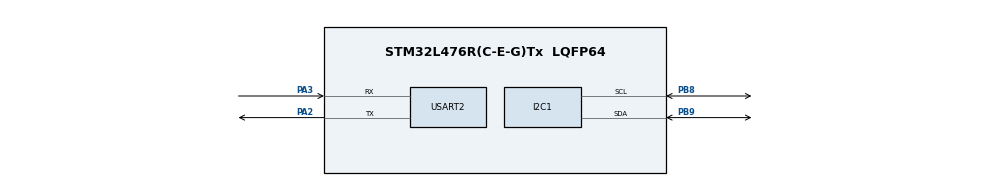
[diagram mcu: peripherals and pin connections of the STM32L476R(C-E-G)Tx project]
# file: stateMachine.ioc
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FREERTOS.Mutexes01=uartMutex,Dynamic,NULL,Available
FREERTOS.Queues01=eventQueue,16,Event_t,0,Dynamic,NULL,NULL;transmitQueue,4,Telemetry_t*,0,Dynamic,NULL,NULL
FREERTOS.Tasks01=mainTask,24,128,StartMainTask,Default,NULL,Dynamic,NULL,NULL;housekeepTask,8,128,StartHousekeepTask,Default,NULL,Dynamic,NULL,NULL;transmitTask,8,128,StartTransmitTask,Default,NULL,Dynamic,NULL,NULL;receiveTask,8,128,StartReceiveTask,Default,NULL,Dynamic,NULL,NULL;deployTask,8,128,StartDeployTask,Default,NULL,Dynamic,NULL,NULL;detumblingTask,8,128,StartDetumblingTask,Default,NULL,Dynamic,NULL,NULL;missionTask,8,128,StartMissionTask,Default,NULL,Dynamic,NULL,NULL
FREERTOS.Timers01=HkTickTimer,vHkTickCallback,osTimerPeriodic,Default,NULL,Dynamic,NULL;TcSlotTimer,vTcSlotCallback,osTimerPeriodic,Default,NULL,Dynamic,NULL;TcSlotOffsetTimer,vTcSlotOffsetCallback,osTimerOnce,Default,NULL,Dynamic,NULL
FREERTOS.configTOTAL_HEAP_SIZE=8192
FREERTOS.configUSE_NEWLIB_REENTRANT=1
I2C1.Timing=0x00100D14
Mcu.Family=STM32L4
Mcu.Name=STM32L476R(C-E-G)Tx
Mcu.Package=LQFP64
NVIC.PriorityGroup=NVIC_PRIORITYGROUP_4
NVIC.TIM6_DAC_IRQn=true\:15\:0\:false\:false\:true\:false\:false\:true\:true
NVIC.TimeBase=TIM6_DAC_IRQn
NVIC.TimeBaseIP=TIM6
PA13\ (JTMS-SWDIO).Mode=Serial_Wire
PA13\ (JTMS-SWDIO).Signal=SYS_JTMS-SWDIO
PA14\ (JTCK-SWCLK).Mode=Serial_Wire
PA14\ (JTCK-SWCLK).Signal=SYS_JTCK-SWCLK
PA2.Mode=Asynchronous
PA2.Signal=USART2_TX
PA3.Mode=Asynchronous
PA3.Signal=USART2_RX
PB8.Mode=I2C
PB8.Signal=I2C1_SCL
PB9.Mode=I2C
PB9.Signal=I2C1_SDA
ProjectManager.HeapSize=0x200
ProjectManager.StackSize=0x400
ProjectManager.TargetToolchain=STM32CubeIDE
RCC.HSE_VALUE=8000000
RCC.HSI_VALUE=16000000
RCC.LSE_VALUE=32768
RCC.MSI_VALUE=4000000
RCC.VCOOutputFreq_Value=32000000
USART2.VirtualMode-Asynchronous=VM_ASYNC
VP_FREERTOS_VS_CMSIS_V2.Mode=CMSIS_V2
VP_SYS_VS_tim6.Mode=TIM6
board=custom

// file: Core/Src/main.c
/* USER CODE BEGIN Header */
/**
  ******************************************************************************
  * @file           : main.c
  * @brief          : Main program body
  ******************************************************************************
  * @attention
  *
  * Copyright (c) 2026 STMicroelectronics.
  * All rights reserved.
  *
  * This software is licensed under terms that can be found in the LICENSE file
  * in the root directory of this software component.
  * If no LICENSE file comes with this software, it is provided AS-IS.
  *
  ******************************************************************************
  */
/* USER CODE END Header */
#include "main.h"
#include "cmsis_os.h"

/* USER CODE BEGIN Includes */
#include <stdio.h>
#include "customTypes.h"
#include "BME280.h"
#include "DS3231.h"
/* USER CODE END Includes */

I2C_HandleTypeDef hi2c1;

UART_HandleTypeDef huart2;

/* Definitions for mainTask */
osThreadId_t mainTaskHandle;
const osThreadAttr_t mainTask_attributes = {
  .name = "mainTask",
  .stack_size = 128 * 4,
  .priority = (osPriority_t) osPriorityNormal,
};
/* Definitions for housekeepTask */
osThreadId_t housekeepTaskHandle;
const osThreadAttr_t housekeepTask_attributes = {
  .name = "housekeepTask",
  .stack_size = 128 * 4,
  .priority = (osPriority_t) osPriorityLow,
};
/* Definitions for transmitTask */
osThreadId_t transmitTaskHandle;
const osThreadAttr_t transmitTask_attributes = {
  .name = "transmitTask",
  .stack_size = 128 * 4,
  .priority = (osPriority_t) osPriorityLow,
};
/* Definitions for receiveTask */
osThreadId_t receiveTaskHandle;
const osThreadAttr_t receiveTask_attributes = {
  .name = "receiveTask",
  .stack_size = 128 * 4,
  .priority = (osPriority_t) osPriorityLow,
};
/* Definitions for deployTask */
osThreadId_t deployTaskHandle;
const osThreadAttr_t deployTask_attributes = {
  .name = "deployTask",
  .stack_size = 128 * 4,
  .priority = (osPriority_t) osPriorityLow,
};
/* Definitions for detumblingTask */
osThreadId_t detumblingTaskHandle;
const osThreadAttr_t detumblingTask_attributes = {
  .name = "detumblingTask",
  .stack_size = 128 * 4,
  .priority = (osPriority_t) osPriorityLow,
};
/* Definitions for missionTask */
osThreadId_t missionTaskHandle;
const osThreadAttr_t missionTask_attributes = {
  .name = "missionTask",
  .stack_size = 128 * 4,
  .priority = (osPriority_t) osPriorityLow,
};
/* Definitions for eventQueue */
osMessageQueueId_t eventQueueHandle;
const osMessageQueueAttr_t eventQueue_attributes = {
  .name = "eventQueue"
};
/* Definitions for transmitQueue */
osMessageQueueId_t transmitQueueHandle;
const osMessageQueueAttr_t transmitQueue_attributes = {
  .name = "transmitQueue"
};
/* Definitions for HkTickTimer */
osTimerId_t HkTickTimerHandle;
const osTimerAttr_t HkTickTimer_attributes = {
  .name = "HkTickTimer"
};
/* Definitions for TcSlotTimer */
osTimerId_t TcSlotTimerHandle;
const osTimerAttr_t TcSlotTimer_attributes = {
  .name = "TcSlotTimer"
};
/* Definitions for TcSlotOffsetTimer */
osTimerId_t TcSlotOffsetTimerHandle;
const osTimerAttr_t TcSlotOffsetTimer_attributes = {
  .name = "TcSlotOffsetTimer"
};
/* Definitions for uartMutex */
osMutexId_t uartMutexHandle;
const osMutexAttr_t uartMutex_attributes = {
  .name = "uartMutex"
};

void SystemClock_Config(void);
static void MX_GPIO_Init(void);
static void MX_USART2_UART_Init(void);
static void MX_I2C1_Init(void);
void StartMainTask(void *argument);
void StartHousekeepTask(void *argument);
void StartTransmitTask(void *argument);
void StartReceiveTask(void *argument);
void StartDeployTask(void *argument);
void StartDetumblingTask(void *argument);
void StartMissionTask(void *argument);
void vHkTickCallback(void *argument);
void vTcSlotCallback(void *argument);
void vTcSlotOffsetCallback(void *argument);

/* USER CODE BEGIN 0 */
int __io_putchar(int ch) {
	HAL_UART_Transmit(&huart2, (uint8_t*) &ch, 1, 10);
	return ch;
}
/* USER CODE END 0 */

int main(void)
{

  /* MCU Configuration--------------------------------------------------------*/

  /* Reset of all peripherals, Initializes the Flash interface and the Systick. */
  HAL_Init();

  /* Configure the system clock */
  SystemClock_Config();

  /* Initialize all configured peripherals */
  MX_GPIO_Init();
  MX_USART2_UART_Init();
  MX_I2C1_Init();

  /* Init scheduler */
  osKernelInitialize();
  /* Create the mutex(es) */
  /* creation of uartMutex */
  uartMutexHandle = osMutexNew(&uartMutex_attributes);

  /* Create the timer(s) */
  /* creation of HkTickTimer */
  HkTickTimerHandle = osTimerNew(vHkTickCallback, osTimerPeriodic, NULL, &HkTickTimer_attributes);

  /* creation of TcSlotTimer */
  TcSlotTimerHandle = osTimerNew(vTcSlotCallback, osTimerPeriodic, NULL, &TcSlotTimer_attributes);

  /* creation of TcSlotOffsetTimer */
  TcSlotOffsetTimerHandle = osTimerNew(vTcSlotOffsetCallback, osTimerOnce, NULL, &TcSlotOffsetTimer_attributes);

  /* Create the queue(s) */
  /* creation of eventQueue */
  eventQueueHandle = osMessageQueueNew (16, sizeof(Event_t), &eventQueue_attributes);

  /* creation of transmitQueue */
  transmitQueueHandle = osMessageQueueNew (4, sizeof(Telemetry_t*), &transmitQueue_attributes);

  /* Create the thread(s) */
  /* creation of mainTask */
  mainTaskHandle = osThreadNew(StartMainTask, NULL, &mainTask_attributes);

  /* creation of housekeepTask */
  housekeepTaskHandle = osThreadNew(StartHousekeepTask, NULL, &housekeepTask_attributes);

  /* creation of transmitTask */
  transmitTaskHandle = osThreadNew(StartTransmitTask, NULL, &transmitTask_attributes);

  /* creation of receiveTask */
  receiveTaskHandle = osThreadNew(StartReceiveTask, NULL, &receiveTask_attributes);

  /* creation of deployTask */
  deployTaskHandle = osThreadNew(StartDeployTask, NULL, &deployTask_attributes);

  /* creation of detumblingTask */
  detumblingTaskHandle = osThreadNew(StartDetumblingTask, NULL, &detumblingTask_attributes);

  /* creation of missionTask */
  missionTaskHandle = osThreadNew(StartMissionTask, NULL, &missionTask_attributes);

  /* Start scheduler */
  osKernelStart();

  /* We should never get here as control is now taken by the scheduler */

  /* Infinite loop */
  while (1)
  {

  }
}

void SystemClock_Config(void)
{
  RCC_OscInitTypeDef RCC_OscInitStruct = {0};
  RCC_ClkInitTypeDef RCC_ClkInitStruct = {0};

  /** Configure the main internal regulator output voltage
  */
  if (HAL_PWREx_ControlVoltageScaling(PWR_REGULATOR_VOLTAGE_SCALE1) != HAL_OK)
  {
    Error_Handler();
  }

  /** Initializes the RCC Oscillators according to the specified parameters
  * in the RCC_OscInitTypeDef structure.
  */
  RCC_OscInitStruct.OscillatorType = RCC_OSCILLATORTYPE_MSI;
  RCC_OscInitStruct.MSIState = RCC_MSI_ON;
  RCC_OscInitStruct.MSICalibrationValue = 0;
  RCC_OscInitStruct.MSIClockRange = RCC_MSIRANGE_6;
  RCC_OscInitStruct.PLL.PLLState = RCC_PLL_NONE;
  if (HAL_RCC_OscConfig(&RCC_OscInitStruct) != HAL_OK)
  {
    Error_Handler();
  }

  /** Initializes the CPU, AHB and APB buses clocks
  */
  RCC_ClkInitStruct.ClockType = RCC_CLOCKTYPE_HCLK|RCC_CLOCKTYPE_SYSCLK
                              |RCC_CLOCKTYPE_PCLK1|RCC_CLOCKTYPE_PCLK2;
  RCC_ClkInitStruct.SYSCLKSource = RCC_SYSCLKSOURCE_MSI;
  RCC_ClkInitStruct.AHBCLKDivider = RCC_SYSCLK_DIV1;
  RCC_ClkInitStruct.APB1CLKDivider = RCC_HCLK_DIV1;
  RCC_ClkInitStruct.APB2CLKDivider = RCC_HCLK_DIV1;

  if (HAL_RCC_ClockConfig(&RCC_ClkInitStruct, FLASH_LATENCY_0) != HAL_OK)
  {
    Error_Handler();
  }
}

static void MX_I2C1_Init(void)
{

  hi2c1.Instance = I2C1;
  hi2c1.Init.Timing = 0x00100D14;
  hi2c1.Init.OwnAddress1 = 0;
  hi2c1.Init.AddressingMode = I2C_ADDRESSINGMODE_7BIT;
  hi2c1.Init.DualAddressMode = I2C_DUALADDRESS_DISABLE;
  hi2c1.Init.OwnAddress2 = 0;
  hi2c1.Init.OwnAddress2Masks = I2C_OA2_NOMASK;
  hi2c1.Init.GeneralCallMode = I2C_GENERALCALL_DISABLE;
  hi2c1.Init.NoStretchMode = I2C_NOSTRETCH_DISABLE;
  if (HAL_I2C_Init(&hi2c1) != HAL_OK)
  {
    Error_Handler();
  }

  /** Configure Analogue filter
  */
  if (HAL_I2CEx_ConfigAnalogFilter(&hi2c1, I2C_ANALOGFILTER_ENABLE) != HAL_OK)
  {
    Error_Handler();
  }

  /** Configure Digital filter
  */
  if (HAL_I2CEx_ConfigDigitalFilter(&hi2c1, 0) != HAL_OK)
  {
    Error_Handler();
  }

}

static void MX_USART2_UART_Init(void)
{

  huart2.Instance = USART2;
  huart2.Init.BaudRate = 115200;
  huart2.Init.WordLength = UART_WORDLENGTH_8B;
  huart2.Init.StopBits = UART_STOPBITS_1;
  huart2.Init.Parity = UART_PARITY_NONE;
  huart2.Init.Mode = UART_MODE_TX_RX;
  huart2.Init.HwFlowCtl = UART_HWCONTROL_NONE;
  huart2.Init.OverSampling = UART_OVERSAMPLING_16;
  huart2.Init.OneBitSampling = UART_ONE_BIT_SAMPLE_DISABLE;
  huart2.AdvancedInit.AdvFeatureInit = UART_ADVFEATURE_NO_INIT;
  if (HAL_UART_Init(&huart2) != HAL_OK)
  {
    Error_Handler();
  }

}

static void MX_GPIO_Init(void)
{

  /* GPIO Ports Clock Enable */
  __HAL_RCC_GPIOA_CLK_ENABLE();
  __HAL_RCC_GPIOB_CLK_ENABLE();

}

/* USER CODE BEGIN 4 */

void initializeEverything(BME280_HandleTypeDef *BMEBat) {
	Set_Time(0, 49, 2, 0, 2, 9, 26);
	BME280_initDefault(BMEBat, hi2c1);
	BME280_setOversampling(BMEBat, BME280_OS_16x, PSSR);
}

/* USER CODE END 4 */

void StartMainTask(void *argument)
{
	/* USER CODE BEGIN 5 */
	Event_t evt;
	SatState_t state = STATE_IDLE;

	osTimerStart(HkTickTimerHandle, pdMS_TO_TICKS(60000));
	osTimerStart(TcSlotOffsetTimerHandle, pdMS_TO_TICKS(30000));
	/* Infinite loop */
	for(;;)
	{
		osMessageQueueGet(eventQueueHandle, &evt, NULL, osWaitForever);

		switch (state) {
		case STATE_IDLE:
		  if (evt.type == EVT_HK_DONE) {
			  state = STATE_TRANSMIT;
			  Telemetry_t *pkt = (Telemetry_t*) evt.payload;
			  osMessageQueuePut(transmitQueueHandle, &pkt, 0, 0);
		  } else if (evt.type == EVT_RX_DONE) {
			  uint8_t tc = *((uint8_t*) evt.payload);
			  if (tc & 1) {
				  state = STATE_MISSION;
				  osThreadFlagsSet(missionTaskHandle, 0x01);
			  }
			  else if (tc & 2) {
				  state = STATE_DEPLOY;
				  osThreadFlagsSet(deployTaskHandle, 0x01);
			  } else if (tc & 4) {
				  state = STATE_DETUMBLING;
				  osThreadFlagsSet(detumblingTaskHandle, 0x01);
			  }
		  }
		  break;
		case STATE_TRANSMIT:
		  if (evt.type == EVT_TX_DONE) {
			  state = STATE_IDLE;
		  }
		  break;
		case STATE_MISSION:
		  if (evt.type == EVT_MISSION_DONE) {
			  state = STATE_IDLE;
		  }
		  break;
		case STATE_DEPLOY:
		  if (evt.type == EVT_DEPLOY_DONE) {
			  state = STATE_IDLE;
		  }
		  break;
		case STATE_DETUMBLING:
		  if (evt.type == EVT_DETUMBLING_DONE) {
			  state = STATE_IDLE;
		  }
		  break;
		default:
		  state = STATE_IDLE;
		  break;
		}
	}
  /* USER CODE END 5 */
}

void StartHousekeepTask(void *argument)
{
  /* USER CODE BEGIN StartHousekeepTask */
	static Telemetry_t telemetryPacket;
	static BME280_HandleTypeDef BMEBat;
	initializeEverything(&BMEBat);
	uint8_t counter = 0;
  /* Infinite loop */
  for(;;)
  {
	  osThreadFlagsWait(0x01, osFlagsWaitAny, osWaitForever);
	  // ler os sensores aqui...
	  BME280_readSingleShot(&BMEBat);

	  // criar a struct para transmitir
	  telemetryPacket.temperatura_bateria = telemetryPacket.temperatura_estrutura = BMEBat.READ.TEMP;
	  telemetryPacket.umidade = BMEBat.READ.HMDT;
	  telemetryPacket.pressao = BMEBat.READ.PSSR;
	  Get_Time(&telemetryPacket.segundo, &telemetryPacket.minuto, &telemetryPacket.hora, &telemetryPacket.dia, NULL, &telemetryPacket.mes, &telemetryPacket.ano);
	  telemetryPacket.deploy_antena = 0;

	  osMutexAcquire(uartMutexHandle, osWaitForever);
	  uint8_t marker = 'H';
	  HAL_UART_Transmit(&huart2, &marker, 1, 100);
	  osMutexRelease(uartMutexHandle);

	  Event_t evt = {EVT_HK_DONE, osKernelGetTickCount(), &telemetryPacket};
	  osMessageQueuePut(eventQueueHandle, &evt, 0, 0);
  }
  /* USER CODE END StartHousekeepTask */
}

void StartTransmitTask(void *argument)
{
  /* USER CODE BEGIN StartTransmitTask */
	Telemetry_t* telemetryPacket;
  /* Infinite loop */
  for(;;)
  {
	  osMessageQueueGet(transmitQueueHandle, &telemetryPacket, NULL, osWaitForever);
	  // send telemetry to the earth
	  osMutexAcquire(uartMutexHandle, osWaitForever);
	  uint8_t marker = 'T';
	  HAL_UART_Transmit(&huart2, &marker, 1, 100);
	  HAL_UART_Transmit(&huart2, (uint8_t*) telemetryPacket, sizeof(Telemetry_t), 1000);
	  osMutexRelease(uartMutexHandle);

	  Event_t evt = {EVT_TX_DONE, osKernelGetTickCount(), NULL};
	  osMessageQueuePut(eventQueueHandle, &evt, 0, 0);
  }
  /* USER CODE END StartTransmitTask */
}

void StartReceiveTask(void *argument)
{
  /* USER CODE BEGIN StartReceiveTask */
	static uint8_t tc;
  /* Infinite loop */
  for(;;)
  {
	  osThreadFlagsWait(0x01, osFlagsWaitAny, osWaitForever);
	  // receive telecommand from earth
	  osMutexAcquire(uartMutexHandle, osWaitForever);
	  uint8_t marker = 'R';
	  HAL_UART_Transmit(&huart2, &marker, 1, 100);
	  osMutexRelease(uartMutexHandle);

	  osMutexAcquire(uartMutexHandle, osWaitForever);
	  HAL_UART_Receive(&huart2, &tc, 1, 5000);
	  osMutexRelease(uartMutexHandle);

	  osMutexAcquire(uartMutexHandle, osWaitForever);
	  printf("[%08lu] Telecommand received: 0x%02X\r\n", osKernelGetTickCount(), tc);
	  osMutexRelease(uartMutexHandle);

	  Event_t evt = {EVT_RX_DONE, osKernelGetTickCount(), &tc};
	  osMessageQueuePut(eventQueueHandle, &evt, 0, 0);
  }
  /* USER CODE END StartReceiveTask */
}

void StartDeployTask(void *argument)
{
  /* USER CODE BEGIN StartDeployTask */
  /* Infinite loop */
  for(;;)
  {
	  osThreadFlagsWait(0x01, osFlagsWaitAny, osWaitForever);
	  osMutexAcquire(uartMutexHandle, osWaitForever);
	  printf("[%08lu] Deploy task ran\r\n", osKernelGetTickCount());
	  osMutexRelease(uartMutexHandle);
	  Event_t evt = {EVT_DEPLOY_DONE, osKernelGetTickCount(), NULL};
	  osMessageQueuePut(eventQueueHandle, &evt, 0, 0);
  }
  /* USER CODE END StartDeployTask */
}

void StartDetumblingTask(void *argument)
{
  /* USER CODE BEGIN StartDetumblingTask */
  /* Infinite loop */
  for(;;)
  {
	  osThreadFlagsWait(0x01, osFlagsWaitAny, osWaitForever);
	  osMutexAcquire(uartMutexHandle, osWaitForever);
	  printf("[%08lu] Detumbling task ran\r\n", osKernelGetTickCount());
	  osMutexRelease(uartMutexHandle);
	  Event_t evt = {EVT_DETUMBLING_DONE, osKernelGetTickCount(), NULL};
	  osMessageQueuePut(eventQueueHandle, &evt, 0, 0);
  }
  /* USER CODE END StartDetumblingTask */
}

void StartMissionTask(void *argument)
{
  /* USER CODE BEGIN StartMissionTask */
  /* Infinite loop */
  for(;;)
  {
	  osThreadFlagsWait(0x01, osFlagsWaitAny, osWaitForever);
	  osMutexAcquire(uartMutexHandle, osWaitForever);
	  printf("[%08lu] Mission task ran\r\n", osKernelGetTickCount());
	  osMutexRelease(uartMutexHandle);
	  Event_t evt = {EVT_MISSION_DONE, osKernelGetTickCount(), NULL};
	  osMessageQueuePut(eventQueueHandle, &evt, 0, 0);
  }
  /* USER CODE END StartMissionTask */
}

/* vHkTickCallback function */
void vHkTickCallback(void *argument)
{
  /* USER CODE BEGIN vHkTickCallback */
	osThreadFlagsSet(housekeepTaskHandle, 0x01);
  /* USER CODE END vHkTickCallback */
}

/* vTcSlotCallback function */
void vTcSlotCallback(void *argument)
{
  /* USER CODE BEGIN vTcSlotCallback */
	osThreadFlagsSet(receiveTaskHandle, 0x01);
  /* USER CODE END vTcSlotCallback */
}

/* vTcSlotOffsetCallback function */
void vTcSlotOffsetCallback(void *argument)
{
  /* USER CODE BEGIN vTcSlotOffsetCallback */
	osTimerStart(TcSlotTimerHandle, pdMS_TO_TICKS(60000));
  /* USER CODE END vTcSlotOffsetCallback */
}

void HAL_TIM_PeriodElapsedCallback(TIM_HandleTypeDef *htim)
{
  if (htim->Instance == TIM6)
  {
    HAL_IncTick();
  }
}

void Error_Handler(void)
{
  __disable_irq();
  while (1)
  {
  }
}
